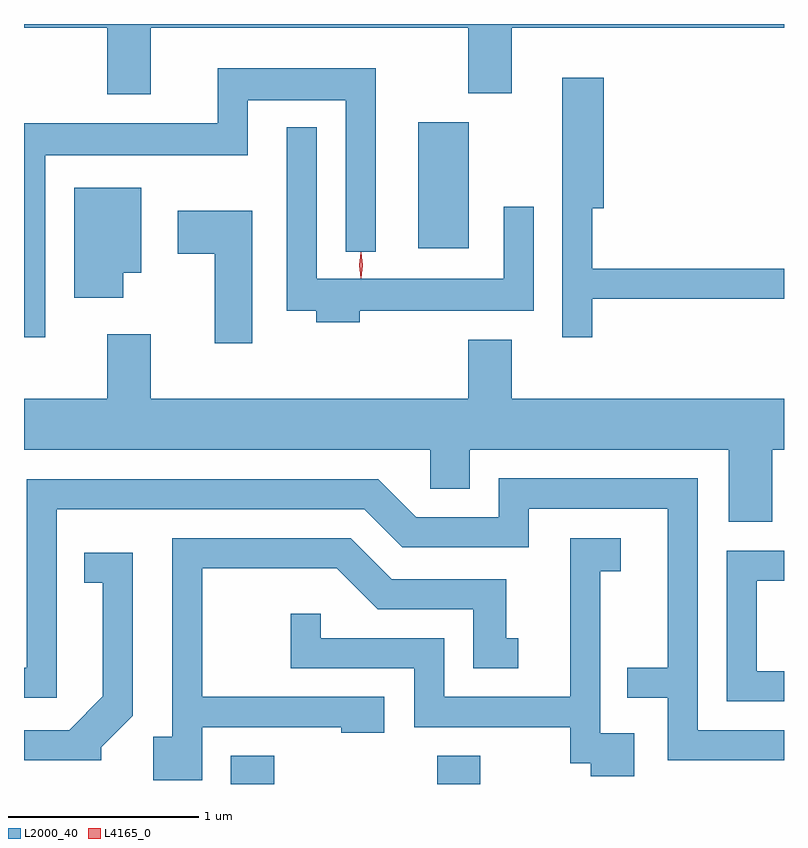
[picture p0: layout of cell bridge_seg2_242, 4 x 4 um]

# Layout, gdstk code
import gdstk
lib = gdstk.Library(unit=1e-6, precision=1e-09)
def R(c, l, rs):  # rectangles x0, y0, x1, y1
    for r in rs: c.add(gdstk.rectangle(r[:2], r[2:], *l))
def P(c, l, *ps):  # polygons
    for p in ps: c.add(gdstk.Polygon(p, *l))
L2000_40 = (2000, 40)
L4165_0 = (4165, 0)

bridge_seg2_242 = lib.new_cell('bridge_seg2_242')
R(bridge_seg2_242, L2000_40, [(489.551,1075.416,489.779,1075.564), (490.636,1075.416,490.864,1075.564), (490.536,1078.236,490.804,1078.899)])
P(bridge_seg2_242, L2000_40, [(489.129,1079.396),(490.801,1079.396),(490.801,1079.051),(491.029,1079.051),(491.029,1079.396),(492.462,1079.396),(492.462,1079.416),(488.462,1079.416),(488.462,1079.396),(488.901,1079.396),(488.901,1079.046),(489.129,1079.046)],
  [(488.574,1078.726),(489.639,1078.726),(489.639,1079.016),(490.156,1079.016),(490.156,1078.218),(490.314,1078.218),(490.314,1079.184),(489.481,1079.184),(489.481,1078.894),(488.462,1078.894),(488.462,1077.768),(488.574,1077.768)],
  [(491.454,1077.971),(492.462,1077.971),(492.462,1078.129),(491.454,1078.129),(491.454,1078.446),(491.514,1078.446),(491.514,1079.134),(491.296,1079.134),(491.296,1077.768),(491.454,1077.768)],
  [(490.229,1077.906),(491.144,1077.906),(491.144,1078.453),(490.986,1078.453),(490.986,1078.074),(490.004,1078.074),(490.004,1078.873),(489.846,1078.873),(489.846,1077.906),(490.001,1077.906),(490.001,1077.846),(490.229,1077.846)],
  [(488.984,1078.106),(489.079,1078.106),(489.079,1078.554),(488.726,1078.554),(488.726,1077.976),(488.984,1077.976)],
  [(489.664,1078.434),(489.271,1078.434),(489.271,1078.206),(489.466,1078.206),(489.466,1077.736),(489.664,1077.736)],
  [(492.399,1077.176),(492.462,1077.176),(492.462,1077.444),(491.029,1077.444),(491.029,1077.754),(490.801,1077.754),(490.801,1077.444),(489.129,1077.444),(489.129,1077.784),(488.901,1077.784),(488.901,1077.444),(488.462,1077.444),(488.462,1077.176),(490.601,1077.176),(490.601,1076.971),(490.809,1076.971),(490.809,1077.176),(492.171,1077.176),(492.171,1076.796),(492.399,1076.796)],
  [(492.462,1075.699),(492.009,1075.699),(492.009,1077.024),(490.961,1077.024),(490.961,1076.819),(490.527,1076.819),(490.327,1077.019),(488.476,1077.019),(488.476,1076.029),(488.462,1076.029),(488.462,1075.871),(488.634,1075.871),(488.634,1076.861),(490.254,1076.861),(490.454,1076.661),(491.119,1076.661),(491.119,1076.866),(491.851,1076.866),(491.851,1076.029),(491.638,1076.029),(491.638,1075.871),(491.851,1075.871),(491.851,1075.541),(492.462,1075.541)],
  [(489.399,1075.716),(490.131,1075.716),(490.131,1075.686),(490.359,1075.686),(490.359,1075.874),(489.399,1075.874),(489.399,1076.551),(490.109,1076.551),(490.324,1076.336),(490.826,1076.336),(490.826,1076.026),(491.063,1076.026),(491.063,1076.184),(490.999,1076.184),(490.999,1076.494),(490.397,1076.494),(490.182,1076.709),(489.241,1076.709),(489.241,1075.664),(489.141,1075.664),(489.141,1075.436),(489.399,1075.436)],
  [(491.674,1075.684),(491.494,1075.684),(491.494,1076.536),(491.604,1076.536),(491.604,1076.709),(491.336,1076.709),(491.336,1075.874),(490.674,1075.874),(490.674,1076.184),(490.024,1076.184),(490.024,1076.313),(489.866,1076.313),(489.866,1076.026),(490.516,1076.026),(490.516,1075.716),(491.336,1075.716),(491.336,1075.526),(491.446,1075.526),(491.446,1075.456),(491.674,1075.456)],
  [(492.462,1076.009),(492.319,1076.009),(492.319,1076.486),(492.462,1076.486),(492.462,1076.644),(492.161,1076.644),(492.161,1075.851),(492.462,1075.851)],
  [(488.869,1075.609),(489.034,1075.774),(489.034,1076.634),(488.778,1076.634),(488.778,1076.476),(488.876,1076.476),(488.876,1075.877),(488.699,1075.699),(488.462,1075.699),(488.462,1075.541),(488.869,1075.541)])
P(bridge_seg2_242, L4165_0, [(490.235,1078.08),(490.226,1078.146),(490.235,1078.212),(490.236,1078.213),(490.236,1078.212),(490.246,1078.146),(490.236,1078.08),(490.236,1078.08)],
  [(490.236,1078.077),(490.235,1078.078),(490.226,1078.147),(490.235,1078.216),(490.236,1078.216),(490.236,1078.216),(490.246,1078.147),(490.236,1078.078)])

lib.write_gds('bridge_seg2_242.gds')
